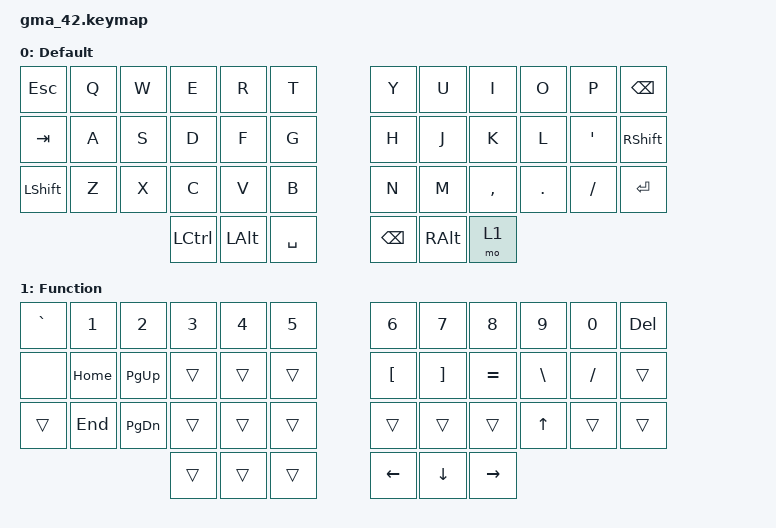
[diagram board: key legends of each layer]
#include <behaviors.dtsi>
#include <dt-bindings/zmk/keys.h>
#include <dt-bindings/zmk/bt.h>

/ {
    behaviors {
        td0: tap_dance_0 {
            compatible = "zmk,behavior-tap-dance";
            #binding-cells = <0>;
            tapping-term-ms = <135>;
            bindings = <&kp M>, <&mo 1>;
        };
    };

    keymap {
        compatible = "zmk,keymap";

        default_layer {
            display-name = "Default";

            bindings = <
                &kp ESC      &kp Q    &kp W    &kp E       &kp R &kp T &kp Y &kp U    &kp I     &kp O    &kp P     &kp BSPC
                &kp TAB      &kp A    &kp S    &kp D       &kp F &kp G &kp H &kp J    &kp K     &kp L    &kp APOS  &kp RSHFT
                &kp LSHFT    &kp Z    &kp X    &kp C       &kp V &kp B &kp N &kp M    &kp COMMA &kp DOT  &kp FSLH  &kp RET
                                        &kp LCTRL  &kp LALT  &kp SPACE    &kp BSPC &kp RALT  &mo 1
            >;
        };

        function_layer {
            display-name = "Function";

            bindings =<
                &kp GRAVE &kp N1   &kp N2    &kp N3 &kp N4 &kp N5 &kp N6   &kp N7   &kp N8    &kp N9    &kp N0   &kp DEL
                &none     &kp HOME &kp PG_UP &trans &trans &trans &kp LBKT &kp RBKT &kp EQUAL &kp BSLH  &kp FSLH &trans
                &trans    &kp END  &kp PG_DN &trans &trans &trans &trans   &trans   &trans    &kp UP    &trans   &trans
                                         &trans &trans  &trans    &kp LEFT  &kp DOWN  &kp RIGHT
            >;
        };
    };
};
